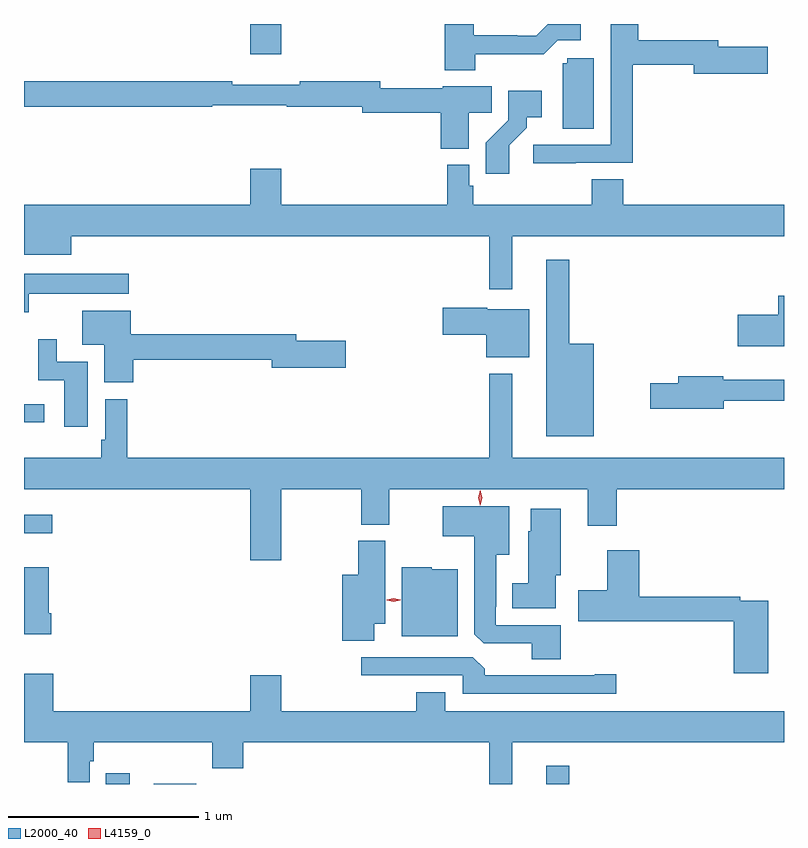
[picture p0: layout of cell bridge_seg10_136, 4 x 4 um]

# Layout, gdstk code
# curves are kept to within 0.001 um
import gdstk
lib = gdstk.Library(unit=1e-6, precision=1e-09)
def R(c, l, rs):  # rectangles x0, y0, x1, y1
    for r in rs: c.add(gdstk.rectangle(r[:2], r[2:], *l))
def P(c, l, *ps):  # polygons
    for p in ps: c.add(gdstk.Polygon(p, *l))
L2000_40 = (2000, 40)
L4159_0 = (4159, 0)

bridge_seg10_136 = lib.new_cell('bridge_seg10_136')
R(bridge_seg10_136, L2000_40, [(344.068,1298.764,344.194,1298.821), (344.319,1298.764,344.543,1298.766), (346.385,1298.764,346.507,1298.86), (343.637,1300.083,343.786,1300.18), (343.637,1300.667,343.744,1300.764), (344.828,1302.606,344.992,1302.764)])
P(bridge_seg10_136, L2000_40, [(346.011,1302.606),(346.373,1302.605),(346.446,1302.678),(346.567,1302.678),(346.567,1302.764),(346.394,1302.764),(346.332,1302.702),(346.232,1302.702),(346.232,1302.705),(346.003,1302.705),(346.003,1302.764),(345.851,1302.764),(345.851,1302.521),(346.011,1302.521)],
  [(346.541,1302.033),(346.841,1302.033),(346.841,1302.55),(347.162,1302.55),(347.162,1302.503),(347.551,1302.503),(347.551,1302.645),(347.29,1302.645),(347.29,1302.679),(346.871,1302.679),(346.871,1302.764),(346.725,1302.764),(346.725,1302.129),(346.317,1302.129),(346.317,1302.031),(346.541,1302.031)],
  [(346.636,1302.585),(346.497,1302.585),(346.497,1302.558),(346.472,1302.558),(346.472,1302.214),(346.636,1302.214)],
  [(345.979,1302.298),(346.1,1302.298),(346.1,1302.436),(345.842,1302.436),(345.842,1302.425),(345.513,1302.425),(345.513,1302.464),(345.088,1302.464),(345.088,1302.445),(344.732,1302.445),(344.732,1302.464),(343.637,1302.464),(343.637,1302.328),(344.627,1302.328),(344.627,1302.336),(345.02,1302.336),(345.02,1302.328),(345.417,1302.328),(345.417,1302.297),(345.83,1302.297),(345.83,1302.107),(345.979,1302.107)],
  [(346.192,1302.127),(346.282,1302.217),(346.282,1302.272),(346.363,1302.272),(346.363,1302.412),(346.185,1302.412),(346.185,1302.257),(346.066,1302.138),(346.066,1301.976),(346.192,1301.976)],
  [(346.207,1301.648),(347.637,1301.648),(347.637,1301.812),(346.79,1301.812),(346.79,1301.948),(346.625,1301.948),(346.625,1301.812),(346.001,1301.812),(346.001,1301.913),(345.981,1301.913),(345.981,1302.022),(345.865,1302.022),(345.865,1301.812),(344.992,1301.812),(344.992,1302.001),(344.828,1302.001),(344.828,1301.812),(343.637,1301.812),(343.637,1301.549),(343.885,1301.549),(343.885,1301.648),(346.086,1301.648),(346.086,1301.367),(346.207,1301.367)],
  [(346.636,1301.08),(346.507,1301.08),(346.507,1301.524),(346.385,1301.524),(346.385,1300.595),(346.636,1300.595)],
  [(343.663,1301.345),(344.188,1301.345),(344.188,1301.449),(343.637,1301.449),(343.637,1301.247),(343.663,1301.247)],
  [(347.637,1301.335),(347.606,1301.335),(347.606,1301.235),(347.394,1301.235),(347.394,1301.069),(347.637,1301.069)],
  [(346.297,1301.263),(346.074,1301.263),(346.074,1301.271),(345.84,1301.271),(345.84,1301.129),(346.07,1301.129),(346.07,1301.009),(346.297,1301.009)],
  [(344.213,1300.996),(344.942,1300.996),(344.942,1300.954),(345.331,1300.954),(345.331,1301.096),(345.07,1301.096),(345.07,1301.132),(344.2,1301.132),(344.2,1301.254),(343.943,1301.254),(343.943,1301.075),(344.06,1301.075),(344.06,1300.878),(344.213,1300.878)],
  [(343.972,1300.986),(343.81,1300.986),(343.81,1301.104),(343.712,1301.104),(343.712,1300.89),(343.85,1300.89),(343.85,1300.644),(343.972,1300.644)],
  [(346.604,1300.122),(346.757,1300.122),(346.757,1300.316),(347.637,1300.316),(347.637,1300.48),(346.207,1300.48),(346.207,1300.924),(346.086,1300.924),(346.086,1300.48),(344.18,1300.48),(344.18,1300.789),(344.064,1300.789),(344.064,1300.576),(344.044,1300.576),(344.044,1300.48),(343.637,1300.48),(343.637,1300.316),(344.828,1300.316),(344.828,1299.942),(344.992,1299.942),(344.992,1300.316),(345.412,1300.316),(345.412,1300.129),(345.559,1300.129),(345.559,1300.316),(346.604,1300.316)],
  [(347.32,1300.782),(347.637,1300.782),(347.637,1300.891),(347.316,1300.891),(347.316,1300.91),(347.081,1300.91),(347.081,1300.874),(346.932,1300.874),(346.932,1300.739),(347.32,1300.739)],
  [(346.463,1299.6),(346.119,1299.6),(346.119,1299.697),(346.123,1299.697),(346.123,1299.971),(346.192,1299.971),(346.192,1300.225),(345.84,1300.225),(345.84,1300.067),(346.007,1300.067),(346.007,1299.553),(346.056,1299.504),(346.31,1299.504),(346.31,1299.421),(346.463,1299.421)],
  [(346.435,1299.864),(346.462,1299.864),(346.462,1300.213),(346.304,1300.213),(346.304,1300.095),(346.292,1300.095),(346.292,1299.82),(346.208,1299.82),(346.208,1299.689),(346.435,1299.689)],
  [(345.481,1299.608),(345.538,1299.608),(345.538,1300.044),(345.397,1300.044),(345.397,1299.865),(345.311,1299.865),(345.311,1299.517),(345.481,1299.517)],
  [(347.555,1299.729),(347.408,1299.729),(347.408,1299.749),(346.874,1299.749),(346.874,1299.994),(346.706,1299.994),(346.706,1299.783),(346.554,1299.783),(346.554,1299.62),(346.857,1299.62),(346.857,1299.621),(347.372,1299.621),(347.372,1299.348),(347.555,1299.348)],
  [(345.919,1299.895),(345.783,1299.895),(345.783,1299.904),(345.626,1299.904),(345.626,1299.542),(345.919,1299.542)],
  [(343.781,1299.664),(343.768,1299.664),(343.768,1299.904),(343.637,1299.904),(343.637,1299.552),(343.781,1299.552)],
  [(346.753,1299.341),(346.64,1299.341),(346.64,1299.336),(346.061,1299.336),(346.061,1299.37),(345.999,1299.432),(345.411,1299.432),(345.411,1299.336),(345.945,1299.336),(345.945,1299.24),(346.753,1299.24)],
  [(345.853,1299.247),(345.701,1299.247),(345.701,1299.148),(344.992,1299.148),(344.992,1299.337),(344.828,1299.337),(344.828,1299.148),(343.79,1299.148),(343.79,1299.343),(343.637,1299.343),(343.637,1298.984),(343.867,1298.984),(343.867,1298.774),(343.983,1298.774),(343.983,1298.883),(344.003,1298.883),(344.003,1298.984),(344.627,1298.984),(344.627,1298.848),(344.792,1298.848),(344.792,1298.984),(346.086,1298.984),(346.086,1298.764),(346.207,1298.764),(346.207,1298.984),(347.637,1298.984),(347.637,1299.148),(345.853,1299.148)])
P(bridge_seg10_136, L4159_0, [(346.039,1300.23),(346.039,1300.23),(346.029,1300.271),(346.039,1300.311),(346.039,1300.311),(346.039,1300.311),(346.049,1300.271),(346.039,1300.23)],
  [(345.582,1299.723),(345.545,1299.732),(345.545,1299.732),(345.545,1299.733),(345.582,1299.742),(345.618,1299.733),(345.619,1299.733),(345.618,1299.732)])

lib.write_gds('bridge_seg10_136.gds')
